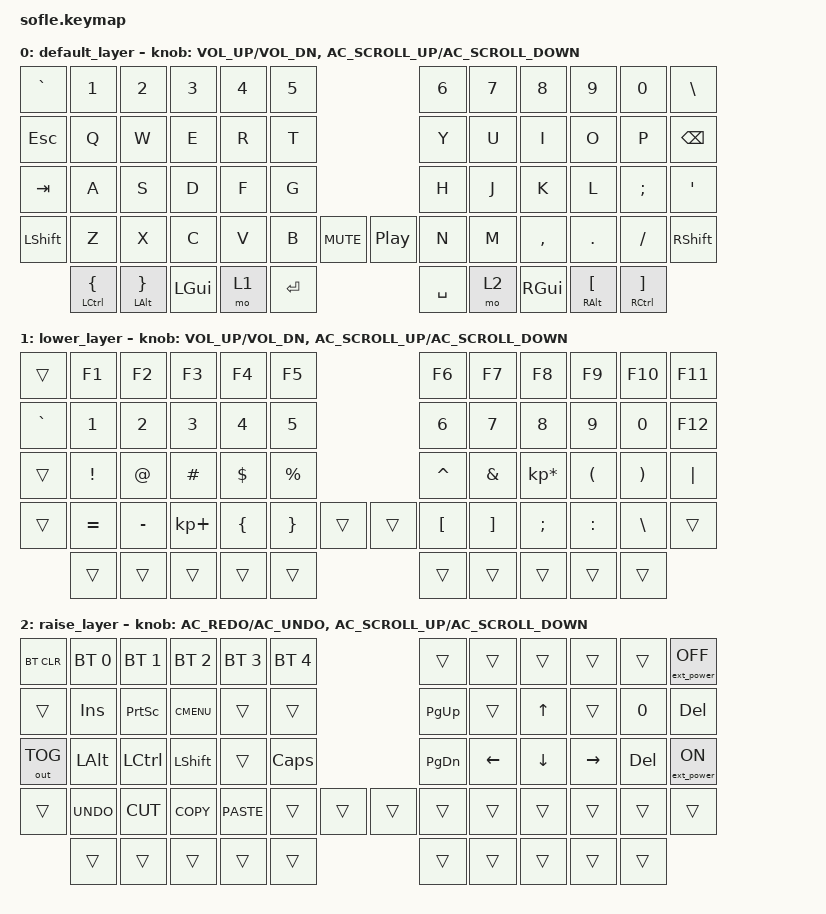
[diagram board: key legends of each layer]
/*
 * Copyright (c) 2020 The ZMK Contributors
 *
 * SPDX-License-Identifier: MIT
 */

#include <behaviors.dtsi>
#include <dt-bindings/zmk/keys.h>
#include <dt-bindings/zmk/bt.h>
#include <dt-bindings/zmk/outputs.h>
#include <dt-bindings/zmk/ext_power.h>

/ {
    keymap {
        compatible = "zmk,keymap";

        default_layer {
// ----------------------------------------------------------------------------------------------------------
// |  `    |  1  |  2   |  3   |  4  |  5   |                   |  6   |  7   |  8   |  9   |   0   | BSLH  |
// |  ESC  |  Q  |  W   |  E   |  R  |  T   |                   |  Y   |  U   |  I   |  O   |   P   | BKSPC |
// |  TAB  |  A  |  S   |  D   |  F  |  G   |                   |  H   |  J   |  K   |  L   |   ;   |   '   |
// | SHIFT |  Z  |  X   |  C   |  V  |  B   |  MUTE  |  | PLAY  |  N   |  M   |  ,   |  .   |   /   | SHIFT |
//               | CTRL | ALT  | GUI | LOWER|  ENTER |  | SPACE | RAISE| GUI  | ALT  | CTRL |
            bindings = <
&kp GRAVE   &kp N1 &kp N2    &kp N3   &kp N4   &kp N5                      &kp N6 &kp N7   &kp N8    &kp N9    &kp N0   &kp BSLH
&kp ESC     &kp Q  &kp W     &kp E    &kp R    &kp T                       &kp Y  &kp U    &kp I     &kp O     &kp P    &kp BSPC
&kp TAB     &kp A  &kp S     &kp D    &kp F    &kp G                       &kp H  &kp J    &kp K     &kp L     &kp SEMI &kp SQT
&kp LSHFT   &kp Z  &kp X     &kp C    &kp V    &kp B  &kp C_MUTE &kp C_PP  &kp N  &kp M    &kp COMMA &kp DOT   &kp FSLH &kp RSHFT
            &mt LCTRL LBRC &mt LALT RBRC &kp LGUI &mo 1  &kp RET    &kp SPACE &mo 2  &kp RGUI &mt RALT LBKT  &mt RCTRL RBKT
            >;

            sensor-bindings = <&inc_dec_kp C_VOL_UP C_VOL_DN &inc_dec_kp C_AC_SCROLL_UP C_AC_SCROLL_DOWN>;
        };

        lower_layer {
// TODO: Some binds are waiting for shifted keycode support.
// ------------------------------------------------------------------------------------------------------------
// |       |  F1 |  F2 |  F3  |  F4  |  F5  |                   |  F6  |  F7   |  F8   |  F9  |  F10  |  F11  |
// | `     |   1 |   2 |   3  |   4  |   5  |                   |   6  |   7   |   8   |   9  |    0  |  F12  |
// |       |  !  |  @  |  #   |  $   |  %   |                   |  ^   |  &    |  *    |  (   |   )   |   |   |
// |       |  =  |  -  |  +   |  {   |  }   |        |  |       |  [   |  ]    |  ;    |  :   |   \   |       |
//               |     |      |      |      |        |  |       |      |       |       |      |
            bindings = <
&trans    &kp F1    &kp F2    &kp F3      &kp F4    &kp F5                    &kp F6    &kp F7   &kp F8          &kp F9    &kp F10   &kp F11
&kp GRAVE &kp N1    &kp N2    &kp N3      &kp N4    &kp N5                    &kp N6    &kp N7   &kp N8          &kp N9    &kp N0    &kp F12
&trans    &kp EXCL  &kp AT    &kp HASH    &kp DLLR  &kp PRCNT                 &kp CARET &kp AMPS &kp KP_MULTIPLY &kp LPAR  &kp RPAR  &kp PIPE
&trans    &kp EQUAL &kp MINUS &kp KP_PLUS &kp LBRC  &kp RBRC  &trans   &trans &kp LBKT  &kp RBKT &kp SEMI        &kp COLON &kp BSLH  &trans
                    &trans    &trans      &trans    &trans    &trans   &trans &trans    &trans   &trans          &trans
            >;

            sensor-bindings = <&inc_dec_kp C_VOL_UP C_VOL_DN &inc_dec_kp C_AC_SCROLL_UP C_AC_SCROLL_DOWN>;
        };

        raise_layer {
// ----------------------------------------------------------------------------------------------------------
// | BTCLR | BT1  | BT2  |  BT3  |  BT4  |  BT5 |                |      |      |       |      |       | EP_OFF|
// |       | INS  | PSCR | GUI   |       |      |                | PGUP |      |   ^   |      |       |  DEL  |
// | BTTOG | ALT  | CTRL | SHIFT |       | CAPS |                | PGDN |   <- |   v   |  ->  |  DEL  | EP_ON |
// |       | UNDO | CUT  | COPY  | PASTE |      |      |  |      |      |      |       |      |       |       |
//                |      |       |       |      |      |  |      |      |      |       |      |
            bindings = <
&bt BT_CLR   &bt BT_SEL 0 &bt BT_SEL 1 &bt BT_SEL 2 &bt BT_SEL 3 &bt BT_SEL 4             &trans    &trans    &trans   &trans    &trans  &ext_power EP_OFF
&trans       &kp INS      &kp PSCRN    &kp K_CMENU  &trans       &trans                   &kp PG_UP &trans    &kp UP   &trans    &kp N0  &kp DEL
&out OUT_TOG &kp LALT     &kp LCTRL    &kp LSHFT    &trans       &kp CLCK                 &kp PG_DN &kp LEFT  &kp DOWN &kp RIGHT &kp DEL &ext_power EP_ON
&trans       &kp K_UNDO   &kp K_CUT    &kp K_COPY   &kp K_PASTE  &trans  &trans   &trans  &trans    &trans    &trans   &trans    &trans  &trans
                          &trans       &trans       &trans       &trans  &trans   &trans  &trans    &trans    &trans   &trans
            >;

            sensor-bindings = <&inc_dec_kp C_AC_REDO C_AC_UNDO &inc_dec_kp C_AC_SCROLL_UP C_AC_SCROLL_DOWN>;
        };
    };
};

&left_encoder {
    resolution = <2>;
};

&right_encoder {
    resolution = <2>;
};
